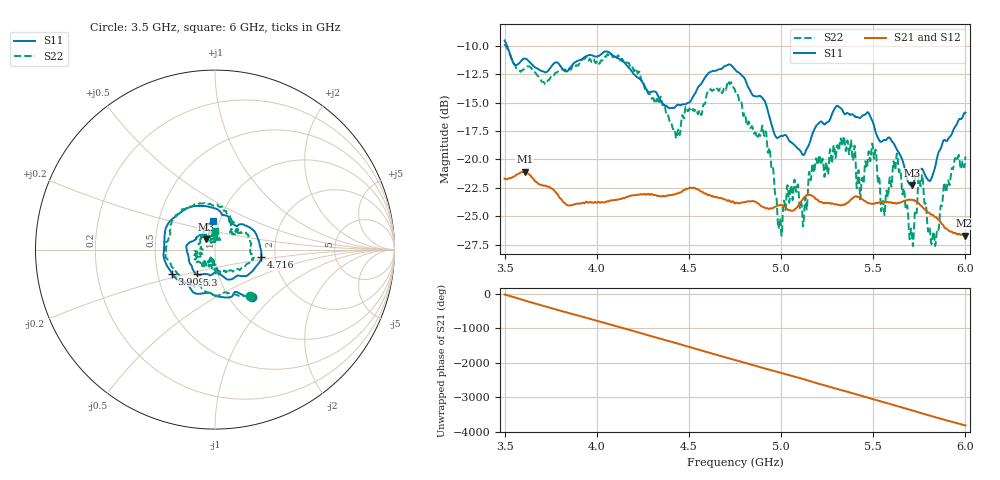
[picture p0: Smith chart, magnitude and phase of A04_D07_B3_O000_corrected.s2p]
! Created with skrf 1.9.0 (http://scikit-rf.org).
# Hz S RI R 50.0
!freq ReS11 ImS11 ReS21 ImS21 ReS12 ImS12 ReS22 ImS22
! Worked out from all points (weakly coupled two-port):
!   1601 points, 3.5 GHz to 6 GHz, reference 50 ohm
!   highest |S21| = -21.08 dB at 3.609 GHz (marker M1); lowest = -26.7 dB at 5.995 GHz (marker M2)
!   lowest |S11| = -22.3 dB at 5.709 GHz (marker M3), VSWR 1.17, Z = 44.9 + j5.28 ohm
!   |S11| at or under -10 dB: 3.514 GHz to end of sweep
!   |S22| runs from -27.6 to -9.8 dB; largest |S21 - S12| = 0.0011
!   S11 on the Smith chart (normalised r, x): 3.5 GHz: 1.27, -0.75; 3.909 GHz: 0.60, -0.17; 4.716 GHz: 1.69, -0.15; 5.3 GHz: 0.79, -0.23; 6 GHz: 0.93, +0.31
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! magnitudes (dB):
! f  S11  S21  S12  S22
! 3.5 GHz  -9.5  -21.7  -21.7  -9.8
! 3.609 GHz  -11.1  -21.1  -21.1  -12.0
! 3.909 GHz  -11.2  -23.9  -23.9  -11.5
! 3.917 GHz  -11.2  -23.9  -23.9  -11.4
! 4.334 GHz  -14.5  -23.2  -23.2  -15.1
! 4.439 GHz  -15.2  -23.0  -23.0  -17.5
! 4.716 GHz  -11.6  -23.6  -23.7  -13.1
! 4.75 GHz  -12.1  -23.9  -23.8  -13.9
! 4.909 GHz  -14.8  -24.2  -24.2  -17.9
! 4.994 GHz  -18.0  -24.0  -24.0  -25.3
! 5.081 GHz  -18.9  -24.3  -24.3  -22.7
! 5.128 GHz  -19.5  -23.3  -23.3  -23.8
! 5.167 GHz  -17.9  -23.2  -23.2  -20.8
! 5.3 GHz  -15.3  -24.0  -23.9  -19.3
! 5.503 GHz  -17.0  -23.9  -23.9  -19.9
! 5.584 GHz  -18.1  -23.8  -23.8  -22.5
! 5.636 GHz  -19.3  -23.8  -23.8  -20.6
! 5.709 GHz  -22.3  -23.5  -23.5  -26.5
! 5.756 GHz  -20.9  -24.0  -24.0  -22.4
! 5.827 GHz  -21.2  -24.9  -24.9  -26.4
! 5.995 GHz  -15.9  -26.7  -26.6  -20.5
! 6 GHz  -15.9  -26.7  -26.7  -19.7
